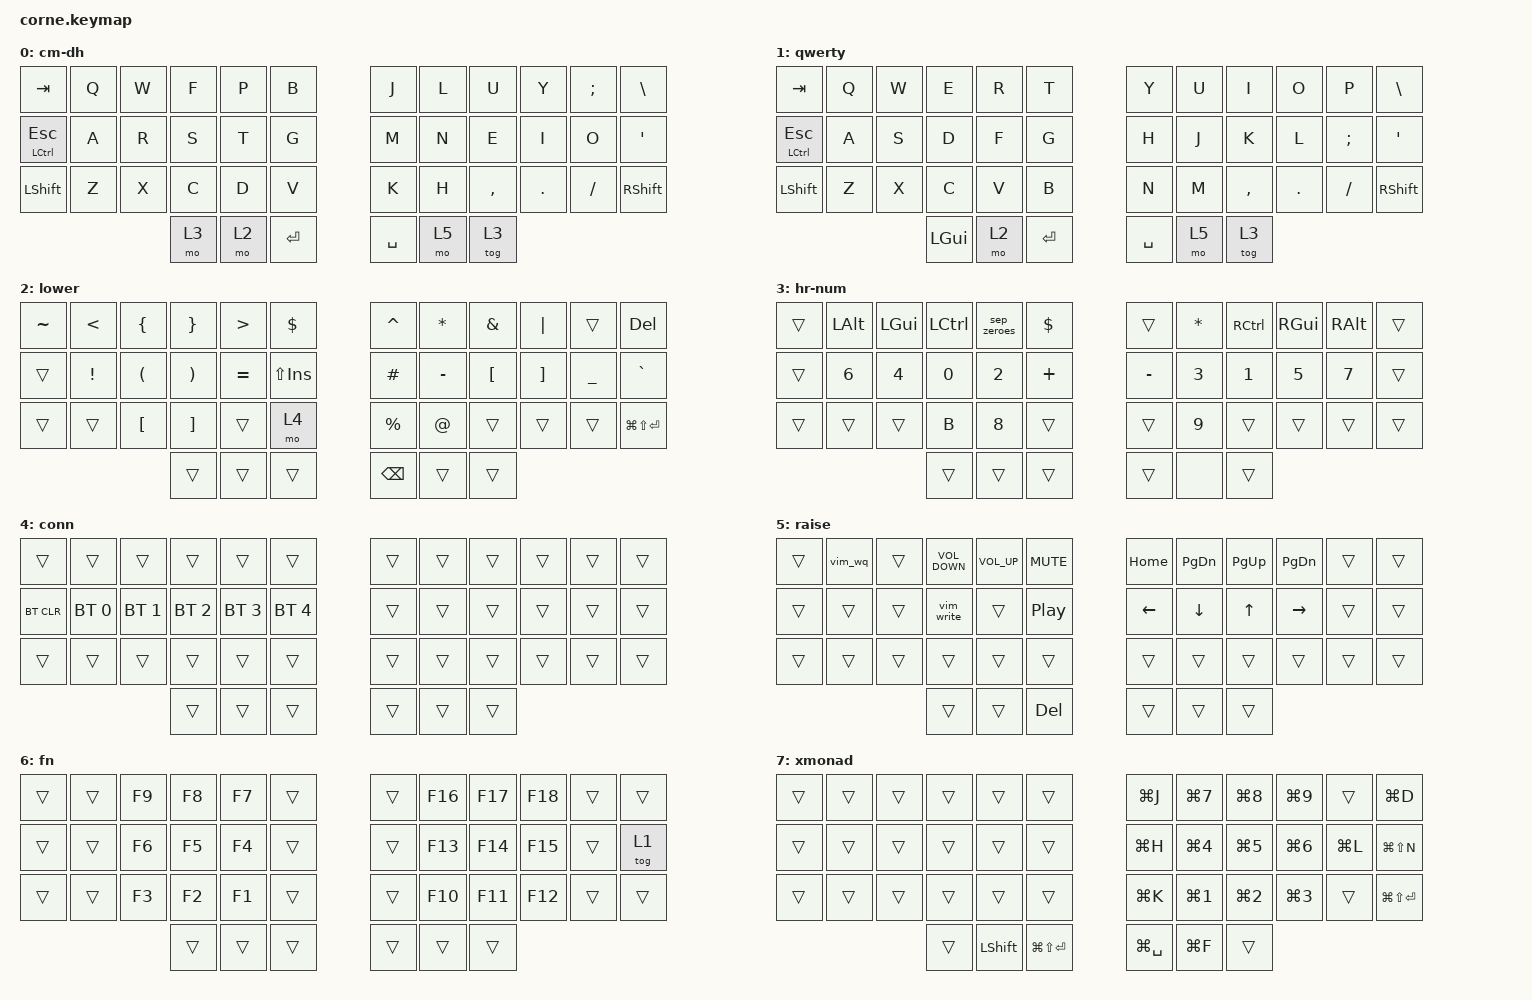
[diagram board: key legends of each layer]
/*
 * Copyright (c) 2020 The ZMK Contributors
 *
 * SPDX-License-Identifier: MIT
 */

#include <behaviors.dtsi>
#include <dt-bindings/zmk/bt.h>
#include <dt-bindings/zmk/keys.h>

#define QUICK_TAP_MS 175

/ {
    macros {
        fn_return: fn_return {
            compatible = "zmk,behavior-macro";
            #binding-cells = <0>;
            bindings = <&kp MINUS &kp GT>;
            label = "FN_RETURN";
            wait-ms = <40>;
            tap-ms = <40>;
        };

        vim_write: vim_write {
            compatible = "zmk,behavior-macro";
            #binding-cells = <0>;
            bindings = <&kp ESCAPE &kp COLON &kp W &kp ENTER>;
            label = "VIM_WRITE";
        };

        vim_wq: vim_wq {
            compatible = "zmk,behavior-macro";
            #binding-cells = <0>;
            bindings = <&kp ESCAPE &kp LS(Z) &kp LS(Z)>;
            label = "VIM_WQ";
        };

        you: you {
            compatible = "zmk,behavior-macro";
            #binding-cells = <0>;
            bindings = <&kp Y &kp O &kp U>;
            label = "YOU";
            wait-ms = <20>;
        };

        im: im {
            compatible = "zmk,behavior-macro";
            #binding-cells = <0>;
            bindings = <&kp LS(I) &kp SQT &kp M>;
            label = "IM";
            wait-ms = <40>;
        };

        qu: qu {
            compatible = "zmk,behavior-macro";
            #binding-cells = <0>;
            bindings = <&kp Q &kp U>;
            label = "QU";
        };

        jo: jo {
            compatible = "zmk,behavior-macro";
            #binding-cells = <0>;
            bindings = <&kp J &kp O>;
            label = "JO";
        };

        pub: pub {
            compatible = "zmk,behavior-macro";
            #binding-cells = <0>;
            bindings = <&kp P &kp U &kp B>;
            label = "PUB";
            wait-ms = <20>;
        };

        sep_zeroes: sep_zeroes {
            compatible = "zmk,behavior-macro";
            #binding-cells = <0>;
            bindings = <&kp UNDER &kp N0 &kp N0 &kp N0>;
            label = "SEP_ZEROES";
            wait-ms = <40>;
        };
    };

    combos {
        compatible = "zmk,combos";

        c_lshift {
            bindings = <&kp LEFT_SHIFT>;
            key-positions = <16 28>;
        };

        c_rshift {
            bindings = <&kp RSHFT>;
            key-positions = <19 31>;
        };

        c_rctl {
            bindings = <&kp LCTRL>;
            key-positions = <20 32>;
        };

        c_capswrd {
            bindings = <&caps_word>;
            key-positions = <24 35>;
        };

        c_esc {
            bindings = <&kp ESC>;
            key-positions = <2 3>;
            layers = <0 1>;
        };

        c_gui1 {
            bindings = <&kp LEFT_GUI>;
            key-positions = <14 3>;
        };

        c_gui3 {
            bindings = <&kp RIGHT_GUI>;
            key-positions = <21 8>;
        };

        c_lalt {
            bindings = <&kp LEFT_ALT>;
            key-positions = <13 25>;
        };

        c_ralt {
            bindings = <&kp RIGHT_ALT>;
            key-positions = <22 34>;
        };

        c_you {
            bindings = <&you>;
            key-positions = <9 8>;
            slow-release;
        };

        c_im {
            bindings = <&im>;
            key-positions = <21 18>;
            slow-release;
        };

        c_qu {
            bindings = <&qu>;
            key-positions = <8 19>;
        };

        q_jo {
            bindings = <&jo>;
            key-positions = <7 18>;
        };

        c_pub {
            bindings = <&pub>;
            key-positions = <4 3>;
        };

        c_xm {
            bindings = <&mo 7>;
            key-positions = <3 16>;
        };
    };

    keymap {
        compatible = "zmk,keymap";

        colemak_dh {
            display-name = "cm-dh";
            bindings = <
&kp TAB        &kp Q  &kp W  &kp F  &kp P  &kp B        &kp J      &kp L  &kp U      &kp Y    &kp SEMI  &kp BACKSLASH
&mt LCTRL ESC  &kp A  &kp R  &kp S  &kp T  &kp G        &kp M      &kp N  &kp E      &kp I    &kp O     &kp SQT
&kp LSHFT      &kp Z  &kp X  &kp C  &kp D  &kp V        &kp K      &kp H  &kp COMMA  &kp DOT  &kp FSLH  &kp RSHFT
                             &mo 3  &mo 2  &kp ENTER    &kp SPACE  &mo 5  &tog 3
            >;
        };

        qwerty {
            display-name = "qwerty";

            // -----------------------------------------------------------------------------------------
            // |  TAB |  Q  |  W  |  E  |  R  |  T  |   |  Y  |  U   |  I  |  O  |  P  |  \   |
            // | CTRL |  A  |  S  |  D  |  F  |  G  |   |  H  |  J   |  K  |  L  |  ;  |  '   |
            // | SHFT |  Z  |  X  |  C  |  V  |  B  |   |  N  |  M   |  ,  |  .  |  /  | ESC  |
            //                    | GUI | LWR | ENT |   | SPC | RSE  | ALT |

            bindings = <
&kp TAB        &kp Q  &kp W  &kp E     &kp R  &kp T        &kp Y      &kp U  &kp I      &kp O    &kp P     &kp BACKSLASH
&mt LCTRL ESC  &kp A  &kp S  &kp D     &kp F  &kp G        &kp H      &kp J  &kp K      &kp L    &kp SEMI  &kp SQT
&kp LSHFT      &kp Z  &kp X  &kp C     &kp V  &kp B        &kp N      &kp M  &kp COMMA  &kp DOT  &kp FSLH  &kp RSHFT
                             &kp LGUI  &mo 2  &kp ENTER    &kp SPACE  &mo 5  &tog 3
            >;
        };

        lower_layer {
            display-name = "lower";
            bindings = <
&kp TILDE  &kp LT    &kp LBRC          &kp RBRC           &kp GT     &kp DOLLAR        &kp CARET    &kp ASTRK  &kp AMPS          &kp PIPE           &trans     &kp DEL
&trans     &kp EXCL  &kp LPAR          &kp RPAR           &kp EQUAL  &kp LS(INSERT)    &kp HASH     &kp MINUS  &kp LEFT_BRACKET  &kp RIGHT_BRACKET  &kp UNDER  &kp GRAVE
&trans     &trans    &kp LEFT_BRACKET  &kp RIGHT_BRACKET  &trans     &mo 4             &kp PERCENT  &kp AT     &trans            &trans             &trans     &kp LG(LS(ENTER))
                                       &trans             &trans     &trans            &kp BSPC     &trans     &trans
            >;
        };

        hr-num {
            bindings = <
&trans  &kp LEFT_ALT  &kp LEFT_GUI  &kp LCTRL     &sep_zeroes   &kp DOLLAR    &trans     &kp STAR      &kp RCTRL     &kp RIGHT_GUI  &kp RIGHT_ALT  &trans
&trans  &kp NUMBER_6  &kp NUMBER_4  &kp NUMBER_0  &kp NUMBER_2  &kp PLUS      &kp MINUS  &kp NUMBER_3  &kp NUMBER_1  &kp NUMBER_5   &kp NUMBER_7   &trans
&trans  &trans        &trans        &kp B         &kp NUMBER_8  &trans        &trans     &kp NUMBER_9  &trans        &trans         &trans         &trans
                                    &trans        &trans        &trans        &trans     &none         &trans
            >;

            label = "hr-num";
        };

        conn {
            bindings = <
&trans      &trans        &trans        &trans        &trans        &trans          &trans  &trans  &trans  &trans  &trans  &trans
&bt BT_CLR  &bt BT_SEL 0  &bt BT_SEL 1  &bt BT_SEL 2  &bt BT_SEL 3  &bt BT_SEL 4    &trans  &trans  &trans  &trans  &trans  &trans
&trans      &trans        &trans        &trans        &trans        &trans          &trans  &trans  &trans  &trans  &trans  &trans
                                        &trans        &trans        &trans          &trans  &trans  &trans
            >;

            label = "conn";
        };

        raise {
            bindings = <
&trans  &vim_wq  &trans  &kp C_VOLUME_DOWN  &kp C_VOLUME_UP  &kp K_MUTE          &kp HOME        &kp PAGE_DOWN  &kp PAGE_UP   &kp PAGE_DOWN  &trans  &trans
&trans  &trans   &trans  &vim_write         &trans           &kp C_PLAY_PAUSE    &kp LEFT_ARROW  &kp DOWN       &kp UP_ARROW  &kp RIGHT      &trans  &trans
&trans  &trans   &trans  &trans             &trans           &trans              &trans          &trans         &trans        &trans         &trans  &trans
                         &trans             &trans           &kp DEL             &trans          &trans         &trans
            >;

            label = "raise";
        };

        fn {
            bindings = <
&trans  &trans  &kp F9  &kp F8  &kp F7  &trans    &trans  &kp F16  &kp F17  &kp F18  &trans  &trans
&trans  &trans  &kp F6  &kp F5  &kp F4  &trans    &trans  &kp F13  &kp F14  &kp F15  &trans  &tog 1
&trans  &trans  &kp F3  &kp F2  &kp F1  &trans    &trans  &kp F10  &kp F11  &kp F12  &trans  &trans
                        &trans  &trans  &trans    &trans  &trans   &trans
            >;

            label = "fn";
        };

        xmonad {
            display-name = "xmonad";
            bindings = <
&trans  &trans  &trans  &trans  &trans          &trans               &kp LG(J)      &kp LG(NUMBER_7)  &kp LG(NUMBER_8)  &kp LG(NUMBER_9)  &trans     &kp LG(D)
&trans  &trans  &trans  &trans  &trans          &trans               &kp LG(H)      &kp LG(NUMBER_4)  &kp LG(NUMBER_5)  &kp LG(NUMBER_6)  &kp LG(L)  &kp LG(LS(N))
&trans  &trans  &trans  &trans  &trans          &trans               &kp LG(K)      &kp LG(NUMBER_1)  &kp LG(NUMBER_2)  &kp LG(NUMBER_3)  &trans     &kp LG(LS(ENTER))
                        &trans  &kp LEFT_SHIFT  &kp LG(LS(ENTER))    &kp LG(SPACE)  &kp LG(F)         &trans
            >;
        };
    };

    conditional_layers {
        compatible = "zmk,conditional-layers";

        fn_tri_state {
            if-layers = <2 5>;
            then-layer = <6>;
        };
    };
};
